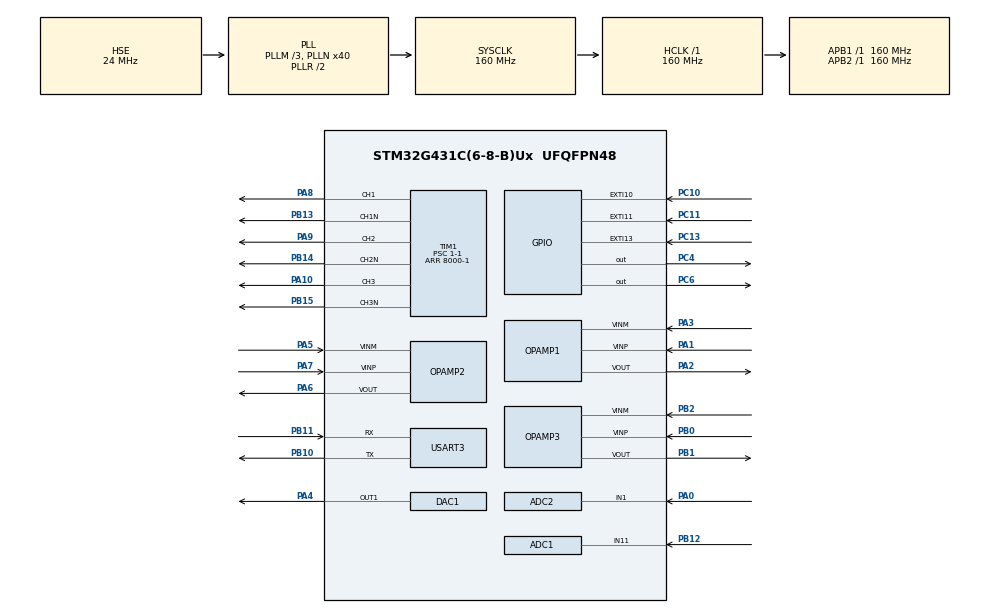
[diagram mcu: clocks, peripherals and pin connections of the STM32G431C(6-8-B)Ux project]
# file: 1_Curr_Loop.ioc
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ADC1.Channel-0\#ChannelRegularConversion=ADC_CHANNEL_11
ADC1.ClockPrescaler=ADC_CLOCK_ASYNC_DIV4
ADC1.EnableInjectedConversion=ENABLE
ADC1.ExternalTrigInjecConv=ADC_EXTERNALTRIGINJEC_T1_CC4
ADC1.InjNumberOfConversion=2
ADC1.InjectedChannel-1\#ChannelInjectedConversion=ADC_CHANNEL_3
ADC1.InjectedChannel-2\#ChannelInjectedConversion=ADC_CHANNEL_12
ADC1.InjectedOffsetNumber-1\#ChannelInjectedConversion=ADC_OFFSET_NONE
ADC1.InjectedOffsetNumber-2\#ChannelInjectedConversion=ADC_OFFSET_NONE
ADC1.InjectedRank-1\#ChannelInjectedConversion=1
ADC1.InjectedRank-2\#ChannelInjectedConversion=2
ADC1.InjectedSamplingTime-1\#ChannelInjectedConversion=ADC_SAMPLETIME_2CYCLES_5
ADC1.InjectedSamplingTime-2\#ChannelInjectedConversion=ADC_SAMPLETIME_2CYCLES_5
ADC1.NbrOfConversion=1
ADC1.NbrOfConversionFlag=1
ADC1.OffsetNumber-0\#ChannelRegularConversion=ADC_OFFSET_NONE
ADC1.Rank-0\#ChannelRegularConversion=1
ADC1.Rank1_Channel=ADC_CHANNEL_3
ADC1.Rank2_Channel=ADC_CHANNEL_12
ADC1.SamplingTime-0\#ChannelRegularConversion=ADC_SAMPLETIME_2CYCLES_5
ADC1.master=1
ADC2.Channel-0\#ChannelRegularConversion=ADC_CHANNEL_1
ADC2.ClockPrescaler=ADC_CLOCK_ASYNC_DIV4
ADC2.EnableInjectedConversion=ENABLE
ADC2.ExternalTrigInjecConv=ADC_EXTERNALTRIGINJEC_T1_CC4
ADC2.InjNumberOfConversion=1
ADC2.InjectedChannel-1\#ChannelInjectedConversion=ADC_CHANNEL_3
ADC2.InjectedOffsetNumber-1\#ChannelInjectedConversion=ADC_OFFSET_NONE
ADC2.InjectedRank-1\#ChannelInjectedConversion=1
ADC2.InjectedSamplingTime-1\#ChannelInjectedConversion=ADC_SAMPLETIME_2CYCLES_5
ADC2.NbrOfConversionFlag=1
ADC2.OffsetNumber-0\#ChannelRegularConversion=ADC_OFFSET_NONE
ADC2.Rank-0\#ChannelRegularConversion=1
ADC2.SamplingTime-0\#ChannelRegularConversion=ADC_SAMPLETIME_2CYCLES_5
COMP1.TriggerMode=COMP_TRIGGERMODE_IT_RISING
Mcu.Family=STM32G4
Mcu.Name=STM32G431C(6-8-B)Ux
Mcu.Package=UFQFPN48
NVIC.ADC1_2_IRQn=true\:0\:0\:false\:false\:true\:true\:true\:true
NVIC.COMP1_2_3_IRQn=true\:0\:0\:false\:false\:true\:false\:true\:true
NVIC.EXTI15_10_IRQn=true\:0\:0\:false\:false\:true\:true\:true\:true
NVIC.PriorityGroup=NVIC_PRIORITYGROUP_4
NVIC.TIM1_BRK_TIM15_IRQn=true\:0\:0\:false\:false\:true\:true\:true\:true
NVIC.TIM1_UP_TIM16_IRQn=true\:0\:0\:false\:false\:true\:true\:true\:true
PA0.Mode=IN1-Single-Ended
PA0.Signal=ADC2_IN1
PA1.Mode=Standalone
PA1.Signal=OPAMP1_VINP
PA10.Signal=S_TIM1_CH3
PA13.Mode=Serial_Wire
PA13.Signal=SYS_JTMS-SWDIO
PA14.Mode=Serial_Wire
PA14.Signal=SYS_JTCK-SWCLK
PA2.Signal=SharedAnalog_PA2
PA3.Mode=Standalone
PA3.Signal=OPAMP1_VINM
PA4.Signal=COMP_DAC11_group
PA5.Mode=Standalone
PA5.Signal=OPAMP2_VINM
PA6.Signal=SharedAnalog_PA6
PA7.Mode=Standalone
PA7.Signal=OPAMP2_VINP
PA8.Signal=S_TIM1_CH1
PA9.Signal=S_TIM1_CH2
PB0.Mode=Standalone
PB0.Signal=OPAMP3_VINP
PB1.Signal=SharedAnalog_PB1
PB10.Mode=Asynchronous
PB10.Signal=USART3_TX
PB11.Mode=Asynchronous
PB11.Signal=USART3_RX
PB12.Mode=IN11-Single-Ended
PB12.Signal=ADC1_IN11
PB13.Mode=PWM Generation1 CH1 CH1N
PB13.Signal=TIM1_CH1N
PB14.Mode=PWM Generation2 CH2 CH2N
PB14.Signal=TIM1_CH2N
PB15.Mode=PWM Generation3 CH3 CH3N
PB15.Signal=TIM1_CH3N
PB2.Mode=Standalone
PB2.Signal=OPAMP3_VINM
PC10.Signal=GPXTI10
PC11.Signal=GPXTI11
PC13.Signal=GPXTI13
PC4.Signal=GPIO_Output
PC6.Signal=GPIO_Output
PF0-OSC_IN.Mode=HSE-External-Oscillator
PF0-OSC_IN.Signal=RCC_OSC_IN
PF1-OSC_OUT.Mode=HSE-External-Oscillator
PF1-OSC_OUT.Signal=RCC_OSC_OUT
ProjectManager.HeapSize=0x200
ProjectManager.StackSize=0x400
ProjectManager.TargetToolchain=Makefile
RCC.ADC12Freq_Value=160000000
RCC.AHBFreq_Value=160000000
RCC.APB1Freq_Value=160000000
RCC.APB1TimFreq_Value=160000000
RCC.APB2Freq_Value=160000000
RCC.APB2TimFreq_Value=160000000
RCC.CortexFreq_Value=160000000
RCC.EXTERNAL_CLOCK_VALUE=12288000
RCC.HCLKFreq_Value=160000000
RCC.HSE_VALUE=24000000
RCC.HSI48_VALUE=48000000
RCC.HSI_VALUE=16000000
RCC.LSE_VALUE=32768
RCC.PLLM=RCC_PLLM_DIV3
RCC.PLLN=40
RCC.PLLSourceVirtual=RCC_PLLSOURCE_HSE
RCC.SYSCLKFreq_VALUE=160000000
RCC.SYSCLKSource=RCC_SYSCLKSOURCE_PLLCLK
RCC.USBFreq_Value=160000000
RCC.VCOOutputFreq_Value=320000000
SH.COMP_DAC11_group.0=DAC1_OUT1,DAC_OUT1
SH.S_TIM1_CH1.0=TIM1_CH1,PWM Generation1 CH1 CH1N
SH.S_TIM1_CH2.0=TIM1_CH2,PWM Generation2 CH2 CH2N
SH.S_TIM1_CH3.0=TIM1_CH3,PWM Generation3 CH3 CH3N
SH.SharedAnalog_PA2.0=OPAMP1_VOUT,Standalone
SH.SharedAnalog_PA2.1=ADC1_IN3,IN3-Single-Ended
SH.SharedAnalog_PA6.0=OPAMP2_VOUT,Standalone
SH.SharedAnalog_PA6.1=ADC2_IN3,IN3-Single-Ended
SH.SharedAnalog_PB1.0=OPAMP3_VOUT,Standalone
SH.SharedAnalog_PB1.1=ADC1_IN12,IN12-Single-Ended
SH.SharedAnalog_PB1.2=COMP1_INP,INP
STMicroelectronics.X-CUBE-ALGOBUILD.1.3.0.LibraryCcDSPOoLibraryJjDSPOoLibrary=true
TIM1.BreakFilter=2
TIM1.BreakState=TIM_BREAK_ENABLE
TIM1.Channel-PWM\ Generation1\ CH1\ CH1N=TIM_CHANNEL_1
TIM1.Channel-PWM\ Generation2\ CH2\ CH2N=TIM_CHANNEL_2
TIM1.Channel-PWM\ Generation3\ CH3\ CH3N=TIM_CHANNEL_3
TIM1.Channel-PWM\ Generation4\ No\ Output=TIM_CHANNEL_4
TIM1.ClockDivision=TIM_CLOCKDIVISION_DIV2
TIM1.CounterMode=TIM_COUNTERMODE_CENTERALIGNED1
TIM1.DeadTime=120
TIM1.OCMode_PWM-PWM\ Generation4\ No\ Output=TIM_OCMODE_PWM2
TIM1.PeriodNoDither=8000-1
TIM1.Prescaler=1-1
TIM1.PulseNoDither_4=8000-2
TIM1.SourceBRKCOMP1=TIM_BREAKINPUTSOURCE_ENABLE
TIM1.TIM_MasterOutputTrigger=TIM_TRGO_OC4REF
USART3.VirtualMode-Asynchronous=VM_ASYNC
VP_COMP1_VS_DAC3OUT1.Mode=INM_DAC3OUT1
VP_DAC3_VS_DACI1.Mode=DAC_OUT1_Int
VP_STMicroelectronics.X-CUBE-ALGOBUILD_VS_DSPOoLibraryJjLibrary_1.3.0_1.3.0.Mode=DSPOoLibraryJjLibrary
VP_SYS_VS_DBSignals.Mode=DisableDeadBatterySignals
VP_TIM1_VS_ClockSourceINT.Mode=Internal
VP_TIM1_VS_no_output4.Mode=PWM Generation4 No Output
board=custom

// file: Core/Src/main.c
/* USER CODE BEGIN Header */
/**
 ******************************************************************************
 * @file           : main.c
 * @brief          : Main program body
 ******************************************************************************
 * @attention
 *
 * Copyright (c) 2023 STMicroelectronics.
 * All rights reserved.
 *
 * This software is licensed under terms that can be found in the LICENSE file
 * in the root directory of this software component.
 * If no LICENSE file comes with this software, it is provided AS-IS.
 *
 ******************************************************************************
 */
/* USER CODE END Header */
#include "main.h"
#include "adc.h"
#include "comp.h"
#include "dac.h"
#include "opamp.h"
#include "tim.h"
#include "usart.h"
#include "gpio.h"

/* USER CODE BEGIN Includes */
#include <stdio.h>
#include "currloop.h"
/* USER CODE END Includes */

/* USER CODE BEGIN PD */
#define Button3_Pin       GPIO_PIN_13
#define Button3_GPIO_Port GPIOC
#define Button3_EXTI_IRQn EXTI15_10_IRQn
#define LED2_Pin          GPIO_PIN_4
#define LED2_GPIO_Port    GPIOC
#define LED1_Pin          GPIO_PIN_6
#define LED1_GPIO_Port    GPIOC
#define Button1_Pin       GPIO_PIN_10
#define Button1_GPIO_Port GPIOC
#define Button1_EXTI_IRQn EXTI15_10_IRQn
#define Button2_Pin       GPIO_PIN_11
#define Button2_GPIO_Port GPIOC
#define Button2_EXTI_IRQn EXTI15_10_IRQn
/* USER CODE END PD */

void SystemClock_Config(void);

/* USER CODE BEGIN 0 */
float Ia, Ib, Ic;
float load_data[5];
uint16_t adc1_in1, adc1_in2, adc1_in3, adc1_in4, adc_vbus;
uint16_t IA_Offset, IB_Offset, IC_Offset;
uint8_t ADC_offset  = 0;
uint16_t finalspeed = 0;
uint8_t Motor_state = 0;
extern ExtU rtU;
extern ExtY rtY;
/* USER CODE END 0 */

int main(void)
{

    /* MCU Configuration--------------------------------------------------------*/

    /* Reset of all peripherals, Initializes the Flash interface and the Systick. */
    HAL_Init();

    /* Configure the system clock */
    SystemClock_Config();

    /* Initialize all configured peripherals */
    MX_GPIO_Init();
    MX_ADC1_Init();
    MX_ADC2_Init();
    MX_COMP1_Init();
    MX_DAC3_Init();
    MX_OPAMP1_Init();
    MX_OPAMP2_Init();
    MX_OPAMP3_Init();
    MX_TIM1_Init();
    MX_USART3_UART_Init();
    MX_DAC1_Init();
    /* USER CODE BEGIN 2 */
    HAL_OPAMP_Start(&hopamp1);
    HAL_OPAMP_Start(&hopamp2);
    HAL_OPAMP_Start(&hopamp3);
    HAL_ADCEx_Calibration_Start(&hadc1, ADC_SINGLE_ENDED);
    HAL_ADCEx_Calibration_Start(&hadc2, ADC_SINGLE_ENDED);
    __HAL_ADC_CLEAR_FLAG(&hadc1, ADC_FLAG_JEOC);
    __HAL_ADC_CLEAR_FLAG(&hadc1, ADC_FLAG_EOC);
    __HAL_ADC_CLEAR_FLAG(&hadc2, ADC_FLAG_JEOC);
    HAL_ADCEx_InjectedStart_IT(&hadc1);
    HAL_ADCEx_InjectedStart(&hadc2);
    TIM1->ARR  = 8000 - 1;
    TIM1->CCR4 = 8000 - 2;
    HAL_TIM_Base_Start(&htim1);
    HAL_TIM_PWM_Start(&htim1, TIM_CHANNEL_4);
    /* USER CODE END 2 */

    /* Infinite loop */
    while (1) {
        HAL_ADC_Start(&hadc2);
        adc_vbus  = HAL_ADC_GetValue(&hadc2);
        rtU.u_bus = adc_vbus * 3.3f / 4096 * 26;
        HAL_Delay(10);
        printf("%.2f,%.2f,%f\r\n", load_data[0], load_data[1], load_data[3]);
    }
}

void SystemClock_Config(void)
{
    RCC_OscInitTypeDef RCC_OscInitStruct = {0};
    RCC_ClkInitTypeDef RCC_ClkInitStruct = {0};

    /** Configure the main internal regulator output voltage
     */
    HAL_PWREx_ControlVoltageScaling(PWR_REGULATOR_VOLTAGE_SCALE1_BOOST);

    /** Initializes the RCC Oscillators according to the specified parameters
     * in the RCC_OscInitTypeDef structure.
     */
    RCC_OscInitStruct.OscillatorType = RCC_OSCILLATORTYPE_HSE;
    RCC_OscInitStruct.HSEState       = RCC_HSE_ON;
    RCC_OscInitStruct.PLL.PLLState   = RCC_PLL_ON;
    RCC_OscInitStruct.PLL.PLLSource  = RCC_PLLSOURCE_HSE;
    RCC_OscInitStruct.PLL.PLLM       = RCC_PLLM_DIV3;
    RCC_OscInitStruct.PLL.PLLN       = 40;
    RCC_OscInitStruct.PLL.PLLP       = RCC_PLLP_DIV2;
    RCC_OscInitStruct.PLL.PLLQ       = RCC_PLLQ_DIV2;
    RCC_OscInitStruct.PLL.PLLR       = RCC_PLLR_DIV2;
    if (HAL_RCC_OscConfig(&RCC_OscInitStruct) != HAL_OK) {
        Error_Handler();
    }

    /** Initializes the CPU, AHB and APB buses clocks
     */
    RCC_ClkInitStruct.ClockType      = RCC_CLOCKTYPE_HCLK | RCC_CLOCKTYPE_SYSCLK | RCC_CLOCKTYPE_PCLK1 | RCC_CLOCKTYPE_PCLK2;
    RCC_ClkInitStruct.SYSCLKSource   = RCC_SYSCLKSOURCE_PLLCLK;
    RCC_ClkInitStruct.AHBCLKDivider  = RCC_SYSCLK_DIV1;
    RCC_ClkInitStruct.APB1CLKDivider = RCC_HCLK_DIV1;
    RCC_ClkInitStruct.APB2CLKDivider = RCC_HCLK_DIV1;

    if (HAL_RCC_ClockConfig(&RCC_ClkInitStruct, FLASH_LATENCY_4) != HAL_OK) {
        Error_Handler();
    }
}

/* USER CODE BEGIN 4 */
void HAL_GPIO_EXTI_Callback(uint16_t GPIO_Pin)
{
    if (Button3_Pin == GPIO_Pin) {
        Motor_state = ~Motor_state;
        if (0 == Motor_state) {
            rtU.Motor_OnOff = 0;
            HAL_TIM_PWM_Stop(&htim1, TIM_CHANNEL_1);
            HAL_TIM_PWM_Stop(&htim1, TIM_CHANNEL_2);
            HAL_TIM_PWM_Stop(&htim1, TIM_CHANNEL_3);
            HAL_TIMEx_PWMN_Stop(&htim1, TIM_CHANNEL_1);
            HAL_TIMEx_PWMN_Stop(&htim1, TIM_CHANNEL_2);
            HAL_TIMEx_PWMN_Stop(&htim1, TIM_CHANNEL_3);
        } else {
            rtU.Motor_OnOff = 1;
            HAL_TIM_PWM_Start(&htim1, TIM_CHANNEL_1);
            HAL_TIM_PWM_Start(&htim1, TIM_CHANNEL_2);
            HAL_TIM_PWM_Start(&htim1, TIM_CHANNEL_3);
            HAL_TIMEx_PWMN_Start(&htim1, TIM_CHANNEL_1);
            HAL_TIMEx_PWMN_Start(&htim1, TIM_CHANNEL_2);
            HAL_TIMEx_PWMN_Start(&htim1, TIM_CHANNEL_3);
        }
    }
}

void HAL_ADCEx_InjectedConvCpltCallback(ADC_HandleTypeDef *hadc)
{
    static uint8_t cnt;
    static uint16_t obsever_cnt;
    if (hadc == &hadc1) {
        if (ADC_offset == 0) {
            cnt++;
            adc1_in1 = hadc1.Instance->JDR1;
            adc1_in2 = hadc2.Instance->JDR1;
            adc1_in3 = hadc1.Instance->JDR2;
            IA_Offset += adc1_in1;
            IB_Offset += adc1_in2;
            IC_Offset += adc1_in3;
            if (cnt >= 10) {
                ADC_offset = 1;
                IA_Offset  = IA_Offset / 10;
                IB_Offset  = IB_Offset / 10;
                IC_Offset  = IC_Offset / 10;
            }
        } else {
            adc1_in1 = hadc1.Instance->JDR1;
            adc1_in3 = hadc1.Instance->JDR2;
            adc1_in2 = hadc2.Instance->JDR1;
            rtU.ia   = (adc1_in1 - IA_Offset) * 0.02197f;
            rtU.ib   = (adc1_in2 - IB_Offset) * 0.02197f;
            rtU.ic   = (adc1_in3 - IC_Offset) * 0.02197f;
            currloop_step();
            TIM1->CCR1   = rtY.Dutyout[0] * 8000;
            TIM1->CCR2   = rtY.Dutyout[1] * 8000;
            TIM1->CCR3   = rtY.Dutyout[2] * 8000;
            load_data[0] = id;
            load_data[1] = iq;
            load_data[2] = 0;
            load_data[3] = ThetaOpen;
            load_data[4] = 0;
        }
    }
}
/* USER CODE END 4 */

void Error_Handler(void)
{
    __disable_irq();
    while (1) {
    }
}
